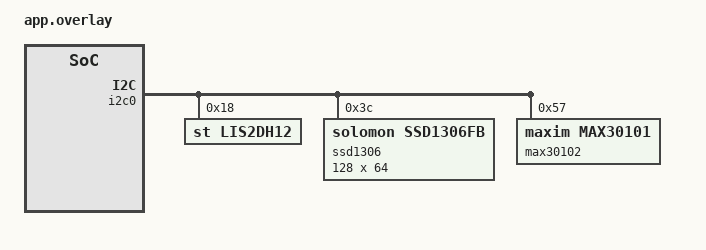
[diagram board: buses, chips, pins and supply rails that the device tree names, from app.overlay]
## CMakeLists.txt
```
#-------------------------------------------------------------------------------
# Zephyr Example Application
#
# Copyright (c) 2021 Nordic Semiconductor ASA
# SPDX-License-Identifier: Apache-2.0

cmake_minimum_required(VERSION 3.13.1)
find_package(Zephyr REQUIRED HINTS $ENV{ZEPHYR_BASE})

project(bibop_eos_s3)

#configure_file(app_version.h.in ${CMAKE_BINARY_DIR}/app/include/app_version.h)
target_include_directories(app PRIVATE ${CMAKE_BINARY_DIR}/app/include src)

# These samples use local static initialization. Since Zephyr doesn't support the
# C++ ABI for thread-safe initialization of local statics and the constructors don't
# appear to require thread safety, we turn it off in the C++ compiler.
set(NO_THREADSAFE_STATICS $<TARGET_PROPERTY:compiler-cpp,no_threadsafe_statics>)
#set(CPP_STANDARD $<TARGET_PROPERTY:compiler-cpp,std=c++17>)
zephyr_compile_options($<$<COMPILE_LANGUAGE:CXX>:${NO_THREADSAFE_STATICS}>)
    #zephyr_compile_options($<$<COMPILE_LANGUAGE:CXX>:${NO_THREADSAFE_STATICS}
    #                                             ${CPP_STANDARD}>)

target_sources(app PRIVATE
                src/main.c
                src/bibop_display.c
                src/bibop_max30102.c
                src/model.cpp
                src/model_functions.cpp
                src/bp_processing.cpp
                #src/eoss3_hal_i2c.c
                #src/eoss3_hal_wb.c
                #src/s3x_clock_hal.c
                )
```

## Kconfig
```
# Copyright (c) 2021 Nordic Semiconductor ASA
# SPDX-License-Identifier: Apache-2.0
#
# This file is the application Kconfig entry point. All application Kconfig
# options can be defined here or included via other application Kconfig files.
# You can browse these options using the west targets menuconfig (terminal) or
# guiconfig (GUI).

menu "Zephyr"

source "Kconfig.zephyr"
endmenu

module = APP
module-str = APP
source "subsys/logging/Kconfig.template.log_config"
```

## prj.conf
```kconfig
# Copyright (c) 2023 Jakub Duchniewicz
# SPDX-License-Identifier: Apache-2.0
#
# This file contains selected Kconfig options for the application.

CONFIG_BUILD_OUTPUT_BIN=y

CONFIG_GPIO=y

CONFIG_LOG=y
CONFIG_PRINTK=y
CONFIG_SERIAL=y
CONFIG_CONSOLE=y
CONFIG_CBPRINTF_FP_SUPPORT=y
CONFIG_STDOUT_CONSOLE=y
CONFIG_UART_CONSOLE=y
CONFIG_UART_LINE_CTRL=y

CONFIG_I2C=y
CONFIG_SENSOR=y
CONFIG_MAX30101=y
#CONFIG_MAX30101_MODE=MAX30101_HEART_RATE_MODE
CONFIG_MAX30101_SPO2_MODE=y
#CONFIG_MAX30101_MULTI_LED_MODE=y
CONFIG_MAX30101_LED1_PA=0x33
CONFIG_MAX30101_LED2_PA=0x33
CONFIG_MAX30101_SMP_AVE=4
CONFIG_MAX30101_SR=7
# 200 Hz


CONFIG_DISPLAY=y
CONFIG_HEAP_MEM_POOL_SIZE=4096
#CONFIG_CFB_LOG_LEVEL_DBG=y
CONFIG_CHARACTER_FRAMEBUFFER=y

CONFIG_CPP=y
CONFIG_NEWLIB_LIBC=y
CONFIG_TENSORFLOW_LITE_MICRO=y
CONFIG_TENSORFLOW_LITE_MICRO_CMSIS_NN_KERNELS=y
```

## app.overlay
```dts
/*
 * Copyright (c) 2023 Jakub Duchniewicz
 *
 * SPDX-License-Identifier: Apache-2.0
 */

 / {
        chosen {
                zephyr,display = &ssd1306;
        };
 };

&i2c0 {
    lis2dh12: lis2dh12@18 {
        compatible = "st,lis2dh12", "st,lis2dh";
        reg = <0x18>;
    };
    ssd1306: ssd1306@3c {
        compatible = "solomon,ssd1306fb";
        reg = <0x3c>;
		width = <128>;
		height = <64>;
		segment-offset = <0>;
		page-offset = <0>;
		display-offset = <0>;
		multiplex-ratio = <63>;
		segment-remap;
		com-invdir;
		prechargep = <0x22>;
    };
    max30102: max30101@57 {
        compatible = "maxim,max30101";
        status = "okay";
        reg = <0x57>;
    };
};
```

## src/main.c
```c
/*
 * Copyright (c) 2023 Jakub Duchniewicz
 * Copyright (c) 2023 Szymon Duchniewicz
 * Copyright (c) 2023 Avanade Inc.
 * SPDX-License-Identifier: Apache-2.0
 */

#include <zephyr/kernel.h>
#include <zephyr/sys/printk.h>
#include <zephyr/drivers/uart.h>
#include <zephyr/drivers/gpio.h>
#include <zephyr/drivers/i2c.h>
#include <zephyr/drivers/sensor.h>
#include <zephyr/device.h>
#include <stdio.h>

#include "lis2dh.h"

#include "bibop_display.h"
#include "bibop_max30102.h"
#include "model_functions.hpp"
#include "bp_processing.hpp"


/* 1000 msec = 1 sec */
#define SLEEP_TIME_MS   1000

#define STACKSIZE 1024
#define PRIORITY 5
#define THREAD_DELAY_START 1000

/* The devicetree node identifier for the "led0" alias. */
#define LED0_NODE DT_ALIAS(led0)
/* The devicetree node indentrifier for the "button0" alias */
#define BUTTON0_NODE DT_ALIAS(sw0)
#define GPIO_NODE DT_NODELABEL(gpio)
#if !DT_NODE_HAS_STATUS(GPIO_NODE, okay)
#error "Unsupported board: gpio devicetree label is not defined"
#endif

static const struct gpio_dt_spec led = GPIO_DT_SPEC_GET(LED0_NODE, gpios);
static const struct gpio_dt_spec button = GPIO_DT_SPEC_GET(BUTTON0_NODE, gpios);
const struct device *const sensor_max = DEVICE_DT_GET_ANY(maxim_max30101);
const struct device *dev_display = DEVICE_DT_GET(DT_CHOSEN(zephyr_display));

static struct bibop_display_conf display_conf;

int init_main();
void sensor_task(void *, void *, void *);
void inference_task(void *, void *, void *);
void display_task(void *, void *, void *);

/* Define threads */
K_THREAD_DEFINE(sensor_task_id, STACKSIZE, sensor_task,
                NULL, NULL, NULL,
                PRIORITY, 0, THREAD_DELAY_START);
K_THREAD_DEFINE(inference_task_id, STACKSIZE, inference_task,
                NULL, NULL, NULL,
                PRIORITY, 0, THREAD_DELAY_START);
K_THREAD_DEFINE(display_task_id, STACKSIZE, display_task,
                NULL, NULL, NULL,
                PRIORITY, 0, THREAD_DELAY_START);

#define SENSOR_TASK_MS 5

/* Define queues for data */
K_FIFO_DEFINE(processing_fifo);
K_FIFO_DEFINE(display_fifo);

#define SENSOR_DATA_FIFO_SIZE 200
#define SAMPLING_RATE_HZ 200
#define PROCESSING_RATE_HZ 125
#define DOWNSAMPLE_FACTOR (SAMPLING_RATE_HZ/PROCESSING_RATE_HZ)

static int8_t processing_fifo_buffer[SENSOR_DATA_FIFO_SIZE];
static int32_t downsampled_sample;
static int16_t processing_fifo_idx;

static Features extracted_features;
static Inferred inferred_data;

int main(void)
{
    if(!init_main())
        return 0;
    if (!bdisplay_init(dev_display, &display_conf)) {
        return 0;
    }
    /*
    bdisplay_loop(dev_display, &display_conf);
    */

    //struct sensor_value red;
    //char print_buf[64];
    /*
     * NOTE: SENSOR_CHAN_IR on our board IS CONNECTED TO THE RED LED
     * and SENSOR_CHAN_RED is connected TO THE IR LED. So data is actually coming from the other place
     */
    while(1) {
        //if (ir.val2 == -128) {
        //    snprintk(print_buf, sizeof(print_buf), "Place your finger on the sensor");
        //}
        //else {
        //    snprintk(print_buf, sizeof(print_buf), "IR value:   %d", ir.val2);
        //}
        //bdisplay_writetext(dev_display, &display_conf, print_buf);
        //k_sleep(K_MSEC(5)); // 5 ms intervals (200Hz)
        k_sleep(K_MSEC(5)); // 5 ms intervals (200Hz)
    }
    return 0;
}

int init_main() {
	int ret;
	if (!gpio_is_ready_dt(&led)) {
		return 0;
	}

    if (!gpio_is_ready_dt(&button)) {
        printk("Button device not ready.\n");
        return 0;
    }

	ret = gpio_pin_configure_dt(&led, GPIO_OUTPUT_INACTIVE);
	if (ret < 0) {
		return 0;
	}
    if (sensor_max == NULL) {
        printk("No Max30101/2 device found\n");
        return 0;
    }
    if (!device_is_ready(sensor_max)) {
        printk("Device %s is not ready\n", sensor_max->name);
        return 0;
    }

    setup_model();
    if (!device_is_ready(dev_display)) {
        printk("Device %s is not ready\n", dev_display->name);
        return 0;
    }
    return 1;
}

// TODO: add buffering of data and proper management of that
// add preprocessing of data and lastly displaying + buffering of outpu (semaphores)
// TODO: check if synchronisation is necessary, use simple queue for now
// adjust scaling of the data and ensure that proper data is printed on the screen
// as of now just display BP on the screen and maybe some other value (HR?)
// solder it and just have a small box powered by USB
// TODO: v3 add waking up with the user button
void sensor_task(void *p1, void *p2, void *p3)
{
    // IR is RED due to bug in the HW
    struct sensor_value ir, red;
    int8_t sample_count = 0;
    while (1) {
        //printk("hello from sensor_task\n");
        bibop_get_mapped_values(sensor_max, &ir, &red);

        ++sample_count;
        downsampled_sample += (int8_t)red.val2;

        // perform an averaging of 2 adjacent samples (should be 1.6 sample in an ideal world,
        // but that would require upsampling and downsampling)
        // instead we simply feed the buffer slightly slower
        // TODO: check if this shouldn't be done using semaphores (else we starve the inference task)
        if (sample_count >= DOWNSAMPLE_FACTOR)
        {
            processing_fifo_buffer[processing_fifo_idx++] = (int8_t)(downsampled_sample / DOWNSAMPLE_FACTOR);

            downsampled_sample = 0;
            sample_count = 0;

            if (processing_fifo_idx == SENSOR_DATA_FIFO_SIZE)
            {
                k_fifo_put(&processing_fifo, &processing_fifo_buffer);
                processing_fifo_idx = 0u;
            }
        }

        k_sleep(K_MSEC(SENSOR_TASK_MS));
    }
}

void inference_task(void *p1, void *p2, void *p3)
{
    while (1) {
        printk("hello from inference_task\n");
        int8_t *processing_buffer = k_fifo_get(&processing_fifo, K_FOREVER);
        // TODO: right now nothing is done with this data - FIX IT
        for (int i = 0; i < 32; ++i)
            printf("%d\n", processing_buffer[i]);

        // TODO: for now preprocess_data expects floats - rescale int32_t to floats?
        extracted_features = preprocess_data(processing_buffer);

        // TODO: for now don't run the model
        // loop_model(extracted_features) and adjust the code
        inferred_data = loop_model(&extracted_features);
        k_fifo_put(&display_fifo, &inferred_data);

        k_sleep(K_MSEC(1000));
    }
}

void display_task(void *p1, void *p2, void *p3)
{
    char buf[32];
    while (1) {
        // TODO: display live data, for now just wait until re-drawing with new
        Inferred *inferred = (Inferred *) k_fifo_get(&display_fifo, K_FOREVER);
        printk("hello from display_task\n");
        sprintf(buf, "SBP: %.1f\nDBP: %.1f\n", inferred->sbp, inferred->dbp);

        //bdisplay_loop(dev_display, &display_conf);
        bdisplay_writetext(dev_display, &display_conf, buf);
        k_sleep(K_MSEC(1000));
    }
}
```

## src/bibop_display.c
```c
#include "bibop_display.h"

int  bdisplay_init(const struct device *dev, struct bibop_display_conf *display_conf) {
    if(display_set_pixel_format(dev, PIXEL_FORMAT_MONO10) != 0) {
        printf("Failed to set required pixel format\n");
        return 0;
    }

    printf("Initialized %s\n", dev->name);

	if (cfb_framebuffer_init(dev)) {
		printf("Framebuffer initialization failed!\n");
		return 0;
	}

	cfb_framebuffer_clear(dev, true);

	display_blanking_off(dev);

	display_conf->rows = cfb_get_display_parameter(dev, CFB_DISPLAY_ROWS);
	display_conf->ppt = cfb_get_display_parameter(dev, CFB_DISPLAY_PPT);

    cfb_framebuffer_set_font(dev, 0);
    printf("font width %d, font height %d\n",
           display_conf->font_width, display_conf->font_height);
    /*
	for (int idx = 0; idx < 42; idx++) {
		if (cfb_get_font_size(dev, idx, &display_conf->font_width, &display_conf->font_height)) {
			break;
		}
		cfb_framebuffer_set_font(dev, idx);
		printf("font width %d, font height %d\n",
		       display_conf->font_width, display_conf->font_height);
	}
    */

	printf("x_res %d, y_res %d, ppt %d, rows %d, cols %d\n",
	       cfb_get_display_parameter(dev, CFB_DISPLAY_WIDTH),
	       cfb_get_display_parameter(dev, CFB_DISPLAY_HEIGH),
	       display_conf->ppt,
	       display_conf->rows,
	       cfb_get_display_parameter(dev, CFB_DISPLAY_COLS));
    return 1;
}

void bdisplay_loop(const struct device *dev, struct bibop_display_conf *display_conf) {
    for (int i = 0; i < display_conf->rows; i++) {
        cfb_framebuffer_clear(dev, false);
        if (cfb_print(dev,
                  "0123456789mMgj!\"§$%&/()=",
                  0, i * display_conf->ppt)) {
            printf("Failed to print a string\n");
            continue;
        }

        cfb_framebuffer_finalize(dev);
        /*
#if defined(CONFIG_ARCH_POSIX)
        k_sleep(K_MSEC(100));
#endif
        */
    }
}

void bdisplay_writetext(const struct device *dev, struct bibop_display_conf *display_conf, const char *text) {
        cfb_framebuffer_clear(dev, false);
        if (cfb_print(dev,
                  text,
                  0, 2 * display_conf->ppt)) {
            printf("Failed to print a string\n");
            return;
        }

        cfb_framebuffer_finalize(dev);
}
```

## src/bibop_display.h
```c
#include <zephyr/display/cfb.h>
#include <zephyr/device.h>
#include <stdio.h>

struct bibop_display_conf {
    uint16_t rows;
    uint8_t ppt;
    uint8_t font_width;
    uint8_t font_height;
};

int bdisplay_init(const struct device *dev, struct bibop_display_conf *display_conf);
void bdisplay_loop(const struct device *dev, struct bibop_display_conf *display_conf);
void bdisplay_writetext(const struct device *dev, struct bibop_display_conf *display_conf, const char *text);
```

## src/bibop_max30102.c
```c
#include "bibop_max30102.h"
#include <zephyr/drivers/i2c.h>
#include <zephyr/kernel.h>
#include <stdio.h>

#define MAX30102_MAX_IR 115000
#define MAX30102_MIN_IR 95000
#define MAX30102_MAX_RED 105000
#define MAX30102_MIN_RED 95000


int8_t bibop_max30102_remap(uint32_t old_min, uint32_t old_max, uint32_t old_val) {
    int8_t new_min = -128;
    int8_t new_max = 127;
    if (old_val > old_max)
        old_val = old_max;
    else if (old_val < old_min)
        old_val = old_min;
    int8_t new_value = (int8_t)((old_val - old_min) * (new_max - new_min) / (old_max - old_min) + new_min);
    return new_value;
}

void bibop_get_mapped_values(const struct device * const sensor_max, struct sensor_value *ir, struct sensor_value *red) {
        sensor_sample_fetch(sensor_max);
        sensor_channel_get(sensor_max, SENSOR_CHAN_IR, red);
        sensor_channel_get(sensor_max, SENSOR_CHAN_RED, ir);

        /* print green LED data */
        ir->val2 = bibop_max30102_remap(MAX30102_MIN_IR, MAX30102_MAX_IR, ir->val1);
        red->val2 = bibop_max30102_remap(MAX30102_MIN_RED, MAX30102_MAX_RED, red->val1);
        //if (new_ir == -128 && new_red == -128) {
        //    /* Super low ir and red values, probably finger not there */
        //    printf("Place yo finger on the sensor!\n");
        //    return;
        //}
        //printf("IR=%d %d\n", ir->val1, ir->val2);
        //printf("RED=%d %d\n", red->val1, red->val2);
}
```

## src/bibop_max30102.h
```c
#include <zephyr/drivers/sensor.h>

void bibop_get_mapped_values(const struct device *const sensor_max, struct sensor_value *ir, struct sensor_value *red);
int8_t bibop_max30102_remap(uint32_t old_min, uint32_t old_max, uint32_t old_val);
```

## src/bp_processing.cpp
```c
#include "bp_processing.hpp"

#include <zephyr/sys/printk.h>
#include <cstddef>
#include <vector>
#include <algorithm>
#include <limits>
#include <cstdint>

/* Steps to proceed:
 * Port the python code here
 * Decide how to mnanage the data transfers and code it (ringbuffers?)
 * Test the model with dummy data from google collab on hardware
 * Feed the mdoel with real data
 * Feed the inferred data from model to the LCD screen
 * (opt)Code the HR algo?
 * (opt)threadize the process
 */

std::vector<int8_t> ppg; // FIXME: dummy vector that should be put somewhere else? a ringbuffer of data for collection
std::vector<int8_t> ppg_i, ppg_ii;
constexpr auto FS = 125;

constexpr float DATA_MEANS[6] = { 0.438804, 0.125859, 0.312945,
                                  0.094671, 0.218274, 1.916834 };
constexpr float DATA_STDDEVS[6] = { 0.143371, 0.042210, 0.115670,
                                    0.021226, 0.106670, 0.406563 };

constexpr float DUMMY_RESULTS[6] = { 0.504, 0.128, 0.376, 0.128, 0.248, 2.5318066157760812 };

struct TimeCycle
{
    float cycle_len;
    float dia_2;
};

// this is the better algorithm
std::vector<int8_t> gradient(const std::vector<int8_t> &input)
{
    if (input.size() <= 1) return input;
    std::vector<int8_t> res;
    res.reserve(FS);

    // Handle first element
    res.push_back(input[1] - input[0]);

    // Handle elements in the middle
    for(size_t j = 1; j < input.size() - 1; j++) {
        size_t j_left = j - 1;
        size_t j_right = j + 1;
        int8_t dist_grad = (input[j_right] - input[j_left]) / 2;
        res.push_back(dist_grad);
    }

    // Handle last element
    res.push_back(input[input.size() - 1] - input[input.size() - 2]);

    return res;
}
//std::vector<float> gradient(const std::vector<float> &input)
//{
//    if (input.size() <= 1) return input;
//    std::vector<float> res;
//    res.reserve(FS);
//    for(size_t j = 0; j < input.size(); j++) {
//        size_t j_left = j - 1;
//        size_t j_right = j + 1;
//        if (j_left < 0) {
//            j_left = 0;
//            j_right = 1;
//        }
//        if (j_right >= input.size()) {
//            j_right = input.size() - 1;
//            j_left = j_right - 1;
//        }
//        // gradient value at position j
//        float dist_grad = (input[j_right] - input[j_left]) / 2.0;
//        res.push_back(dist_grad);
//    }
//    return res;
//}

// FIXME: add height param here, something wrong!
std::vector<int> find_peaks(const std::vector<int8_t> &input, int8_t height = std::numeric_limits<int8_t>::lowest()) // TODO: height parameter?
{
	std::vector<int> peaks;
	for (size_t i = 1; i < input.size() - 1; ++i)
	{
		if (input[i] > input[i - 1] && input[i] > input[i + 1] && input[i] > height)
        {
            printk("pushed back peak idx: %d\n", i); // TODO: debug where the inacurracy is between Python and C++
			peaks.push_back(i);
        }
	}
    printk("Done pushing\n");
	return peaks;
}

TimeCycle time_cycle(const std::vector<int8_t> &input, int sys_1, int sys_2, int dia_1)
{
    float dia_2 = std::distance(input.begin() + sys_1,
                  std::min_element(input.begin() + sys_1, input.begin() + sys_2)) +
                  sys_1; // adjust here
    return { dia_2 - dia_1, dia_2 };
}

int dicr_notch(const std::vector<int8_t> &input_ii, int sys_1)
{
    std::vector<int8_t> input_ii_sys_1 = std::vector<int8_t>(input_ii.begin() + sys_1, input_ii.end());
    std::vector<int> peaks = find_peaks(input_ii_sys_1, 0); // still does not get 2 guys here, have to fix it
    if (!peaks.size())
        return -1;

    return peaks[0] + sys_1;
}


/* TODO: can I return temporary vectors?
 * also, I think I need a ringbuffer for returned data as well */
Features extract_features(const std::vector<int8_t> &ppg, const std::vector<int8_t> &ppg_ii)
{
    float sys_1, sys_2, dia_1, dicr, t_start_sys,
          t_sys_end, t_sys_dicr, t_dicr_end, ratio;
    std::vector<int> peaks = find_peaks(ppg);
    if (!peaks.size())
    {
        printk("No peaks found.");
        return { -1, -1, -1, -1, -1, -1 };
    }

    sys_1 = peaks[0];
    if (peaks.size() < 2)
        sys_2 = -1;
    else
        sys_2 = peaks[1];

    // peaks.end() should be sys_1
    dia_1 = std::distance(ppg.begin(), std::min_element(ppg.begin(), ppg.begin() + sys_1));

    auto [cycle_len, dia_2] = time_cycle(ppg, sys_1, sys_2, dia_1);

    t_start_sys = sys_1 - dia_1;
    t_sys_end = dia_2 - sys_1;

    dicr = dicr_notch(ppg_ii, sys_1);

    if (dicr == -1)
    {
        printk("No dicr notch.");
        return { -1, -1, -1, -1, -1, -1 };
    }

    t_sys_dicr = dicr - sys_1;
    t_dicr_end = dia_2 - dicr;
    ratio = ppg[sys_1] / ppg[dia_1];

    cycle_len /= FS;
    t_start_sys /= FS;
    t_sys_end /= FS;
    t_sys_dicr /= FS;
    t_dicr_end /= FS;

    // TODO: add printks
    return { cycle_len, t_start_sys, t_sys_end,
            t_sys_dicr, t_dicr_end, ratio };
}
/* Reads one period of samples from the global buffer.
 * Then extracts features from the data and puts it in
 * a buffer that is passed to the model for inference. */
Features preprocess_data(int8_t *input)
{
    ppg_i.reserve(FS);
    ppg_ii.reserve(FS);
    // calculate PPG gradients
    std::vector<int8_t> input_v(input, input + FS);
	ppg_i = gradient(input_v);
	ppg_ii = gradient(ppg_i);

    //printk("PPG\n");
    //for (int i = 0; i < 10; i+=5)
    //{
    //    printk("%f %f %f %f %f\n",
    //            DUMMY_PPG[i], DUMMY_PPG[i+1], DUMMY_PPG[i+2], DUMMY_PPG[i+3], DUMMY_PPG[i+4]);
    //}

    //printk("PPG_I\n");
    //for (int i = 0; i < 10; i+=5)
    //{
    //    printk("%f %f %f %f %f\n",
    //            ppg_i[i], ppg_i[i+1], ppg_i[i+2], ppg_i[i+3], ppg_i[i+4]);
    //}

    //printk("PPG_II\n");
    //for (int i = 0; i < 10; i+=5)
    //{
    //    printk("%f %f %f %f %f\n",
    //            ppg_ii[i], ppg_ii[i+1], ppg_ii[i+2], ppg_ii[i+3], ppg_ii[i+4]);
    //}

    // extract features
	Features ftrs = extract_features(input_v, ppg_ii);

	// FIXME: dummy
    printk("Before rescaling\n");
    printk("cycle_len: %f orig: %f\n", ftrs.cycle_len, DUMMY_RESULTS[0]);
    printk("t_start_sys: %f orig: %f\n", ftrs.t_start_sys, DUMMY_RESULTS[1]);
    printk("t_sys_end: %f orig: %f\n", ftrs.t_sys_end, DUMMY_RESULTS[2]);
    printk("t_sys_dicr: %f orig: %f\n", ftrs.t_sys_dicr, DUMMY_RESULTS[3]);
    printk("t_dicr_end: %f orig: %f\n", ftrs.t_dicr_end, DUMMY_RESULTS[4]);
    printk("ratio: %f orig: %f\n", ftrs.ratio, DUMMY_RESULTS[5]);

    // prescale the data with values from the dataset
    ftrs.cycle_len = (ftrs.cycle_len - DATA_MEANS[0]) / DATA_STDDEVS[0];
    ftrs.t_start_sys = (ftrs.t_start_sys - DATA_MEANS[1]) / DATA_STDDEVS[1];
    ftrs.t_sys_end = (ftrs.t_sys_end - DATA_MEANS[2]) / DATA_STDDEVS[2];
    ftrs.t_sys_dicr = (ftrs.t_sys_dicr - DATA_MEANS[3]) / DATA_STDDEVS[3];
    ftrs.t_dicr_end = (ftrs.t_dicr_end - DATA_MEANS[4]) / DATA_STDDEVS[4];
    ftrs.ratio = (ftrs.ratio - DATA_MEANS[5]) / DATA_STDDEVS[5];

    return ftrs;
}
```

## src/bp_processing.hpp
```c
#ifndef BIBOP_ZEPHYR_EOS_S3_APP_BP_PROCESSING_H_
#define BIBOP_ZEPHYR_EOS_S3_APP_BP_PROCESSING_H_

#include "common.hpp"
#include <stdint.h>

/* Expose a C friendly interface for main functions. */
#ifdef __cplusplus
extern "C" {
#endif

Features preprocess_data(int8_t *input);

#ifdef __cplusplus
}
#endif

#endif /* BIBOP_ZEPHYR_EOS_S3_APP_MODEL_FUNCTIONS_H_*/
```

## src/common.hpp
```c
#ifndef BIBOP_ZEPHYR_EOS_S3_APP_COMMON_H_
#define BIBOP_ZEPHYR_EOS_S3_APP_COMMON_H_

typedef struct
{
    float cycle_len;
    float t_start_sys;
    float t_sys_end;
    float t_sys_dicr;
    float t_dicr_end;
    float ratio;
} Features;

typedef struct
{
    float sbp;
    float dbp;
} Inferred;

#endif /* BIBOP_ZEPHYR_EOS_S3_APP_COMMON_H_ */
```

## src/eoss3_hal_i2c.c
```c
/*
 * ==========================================================
 *
 *    Copyright (C) 2020 QuickLogic Corporation             
 *    Licensed under the Apache License, Version 2.0 (the "License");
 *    you may not use this file except in compliance with the License.
 *    You may obtain a copy of the License at
 * 		http://www.apache.org/licenses/LICENSE-2.0
 *    Unless required by applicable law or agreed to in writing, software
 *    distributed under the License is distributed on an "AS IS" BASIS,
 *    WITHOUT WARRANTIES OR CONDITIONS OF ANY KIND, either express or implied.
 *    See the License for the specific language governing permissions and
 *    limitations under the License.
 *
 *    File      : eoss3_hal_i2c.c
 *    Purpose   : 
 *                                                          
 *                                                          
 * ===========================================================
 *
 */

#include <stdio.h>
#include <stdint.h>
#include <string.h>
#include <stddef.h>
#include <eoss3_dev.h>
#include <eoss3_hal_def.h>
//#include <s3x_clock_hal.h>
//#include <eoss3_hal_rcc.h>
#include <eoss3_hal_i2c.h>
#include <eoss3_hal_pad_config.h>
#include "test_types.h"
#include <eoss3_hal_wb.h>
//#include "eoss3_hal_power.h"

#ifdef __RTOS
#include <FreeRTOS.h>
#include <semphr.h>
#endif
#define delayCycles(_x_)	do {							\
					volatile unsigned int _delayCycleCount = _x_;	\
					while (_delayCycleCount--);			\
				} while(0)
#define MAX_CYCLES_FFE 50 // how many cycles to wait after each write to TXRX data register for i2c, for FFE to stop being busy - pick up the data and transmit to the i2c device (otherwise will fail on next transmission function)
#define waitFFEReady(_x_) for (int i = 0; i != _x_; i++) \
                                  if (!((EXT_REGS_FFE->CSR & WB_CSR_BUSY) \
                                              || (EXT_REGS_FFE->CSR & WB_CSR_MASTER_START)))\
                                              break;

/* This variable holds I2C status */
I2C_State eI2CState = I2C_RESET;
UINT8_t   ucI2CSlaveID = WB_ADDR_I2C0_SLAVE_SEL;

HAL_StatusTypeDef HAL_I2C0_Select()
{
  ucI2CSlaveID = WB_ADDR_I2C0_SLAVE_SEL;
  return HAL_OK;
}

HAL_StatusTypeDef HAL_I2C1_Select()
{
  ucI2CSlaveID = WB_ADDR_I2C1_SLAVE_SEL;
  return HAL_OK;
}

HAL_StatusTypeDef HAL_I2C_Init(I2C_Config xI2CConfig)
{
    if(xI2CConfig.ucI2Cn == 0)
    {
    	HAL_WB_Init(WB_ADDR_I2C0_SLAVE_SEL);
	HAL_I2C0_Select();
    }
    if(xI2CConfig.ucI2Cn == 1)
    {
	HAL_WB_Init(WB_ADDR_I2C1_SLAVE_SEL);
	HAL_I2C1_Select();
    }

    HAL_WB_Transmit(I2C_MCR, (UINT8_t)~(1<<I2C_CR_EN_BIT), ucI2CSlaveID);

    /* Set I2C clock frequency */
    HAL_I2C_SetClockFreq(xI2CConfig.eI2CFreq);

    /* Check if Interrupt needs to be enable */
    if(xI2CConfig.eI2CInt)
          HAL_WB_Transmit(I2C_MCR, 1<<I2C_CR_IEN_BIT, ucI2CSlaveID);

    HAL_WB_Transmit(I2C_MCR, 1<<I2C_CR_EN_BIT, ucI2CSlaveID);

	eI2CState = I2C_READY;
	return HAL_OK;
}
/*
* Note:  12-14-2018
* The Datasheet seems to be not updated to the correct RTL implementation.
* The macro HAL_I2C_CLK_PRESCALE is incorrect due to this.
*      I2C_FREQ ? (SYS_FREQ/(I2C_FREQ*5))-1
*
* The computation should be according to the following formula.
* For pre-scale  = 0:
*
*  Default I2C frequency  (with control register bit [4] = bit[5] = 0)  =  Sys Freq. / 12
* 
* For pre-scale  > 0:
*
*  I2C SCL Freq  = Sys Freq / (5 * (pre-scale +1) + X ,       
*        1. Where X  is added because of the clock stretching support, filtering of the feedback path 
*           to know whether clock is being stretched or not. 
*        2. X varies according to the pre-scale value.
*           For pre-scale (1-3 ), X = 5
*           For pre-scale (4-7 ), X = 7
*           For pre-scale (8-11 ), X = 9 
*           For pre-scale (12-15 ), X =11 . So On
*
* So, the values are precomputed for a lookup in a Table
*/
#define CHECK_DIV_ARRAY_SIZE  16
//static int divArray[CHECK_DIV_ARRAY_SIZE]      = {12,15,20,25,32,37,42,47,54,59,64,69,76,81,86,91};
static int checkDivArray[CHECK_DIV_ARRAY_SIZE] = {13,17,22,29,34,39,44,50,56,61,66,72,78,83,88,91};
//int checkDivArraySize = 16;
static int CalculatePreScale(float divFactor)
{
    int i;
    for (i = 0; i < CHECK_DIV_ARRAY_SIZE; i++)
    {
        if (divFactor <= checkDivArray[i])
        {
            return i;
        }
    }
    return CHECK_DIV_ARRAY_SIZE-1;
}

HAL_StatusTypeDef HAL_I2C_SetClockFreq(UINT32_t uiClkFreq)
{
    UINT32_t uiClock, uiPrescale;
    UINT8_t val;
   //Set the frequency
    //uiClock = S3x_Clk_Get_Rate(S3X_FFE_X1_CLK); // TODO: FIX - add CLOCK rate getting function
    /* Get Source Clock (CL08_X4) Rate, which is equal to High Speed OSC (HSOSC) clock Rate 
     * and divide it accordingly. NOTE: This below assumes HSOSC rate is not modified (and by
     * default it is not) 
     * #define OSC_GET_FREQ_INC()	(((AIP->OSC_CTRL_1 & 0xFFF) + 3) * 32768)
    */
    uiClock = (((AIP->OSC_CTRL_1 & 0xFFF) + 3) * 32768)/4/6; // TODO: Find a programatic way to get the dividor (6) from CLK_CTRL_C_0, supposedly done here: https://github.com/QuickLogic-Corp/qorc-sdk/blob/d61d064146c0ee927aa12b088b3bbbce60615f4d/Libraries/Power/src/s3x_clock.c#L685

    // Program prescale value
#if 1 //use new formula to compute    
    uiPrescale = CalculatePreScale(uiClock*1.0/(uiClkFreq*100*1000));
#else  //this is incorrect according to RTL   
    uiPrescale = HAL_I2C_CLK_PRESCALE(uiClock, (uiClkFreq*100*1000));
#endif    
//    HAL_I2C_WRITE_PRESCALE(uiPrescale);
    HAL_WB_Transmit(I2C_PRELO, uiPrescale&0xFF, ucI2CSlaveID);
    HAL_WB_Transmit(I2C_PREHI, (uiPrescale>>8)&0xFF, ucI2CSlaveID);

    HAL_WB_Receive(I2C_PRELO, &val, ucI2CSlaveID);

    return HAL_OK;
}


HAL_StatusTypeDef HAL_I2C_Write(UINT8_t ucDevAddress, UINT8_t ucAddress, UINT8_t *pucDataBuf, UINT32_t uiLength)
{
  UINT8_t *pucData = pucDataBuf;
  UINT32_t uiLen = uiLength-1;
  UINT8_t ucI2CStatus = 0;

  if(eI2CState != I2C_READY)
    return HAL_BUSY;

  if(!ucDevAddress || pucDataBuf == NULL)
    return HAL_ERROR;

  if(!uiLength)
    return HAL_OK;

  eI2CState = I2C_BUSY;

  /* Request for write */
  if(HAL_WB_Transmit(I2C_TXRX_DR, ((ucDevAddress<<1) & (~1)), ucI2CSlaveID) != HAL_OK)
  {
    	eI2CState = I2C_READY;
	return HAL_ERROR;
  }
  waitFFEReady(MAX_CYCLES_FFE);

  /* Generate command with start condition and write cycle */
  if(HAL_WB_Transmit(I2C_CMD_SR, CMD_START_BIT | CMD_WRITE_SLAVE_BIT, ucI2CSlaveID) != HAL_OK)
  {
    	eI2CState = I2C_READY;
	return HAL_ERROR;
  }

  /* Check if Transfer completed */
  do
  {
     HAL_WB_Receive(I2C_CMD_SR, &ucI2CStatus, ucI2CSlaveID);
  }while(ucI2CStatus & (1<<SR_TIP_BIT));

  /* Read acknowledge from slave */
  if((ucI2CStatus & (1<<SR_RXACK_BIT)))
  {
      	eI2CState = I2C_READY;
    	return HAL_ERROR;
  }
  /* Write address */
  if(HAL_WB_Transmit(I2C_TXRX_DR, ucAddress, ucI2CSlaveID) != HAL_OK)
  {
    	eI2CState = I2C_READY;
	return HAL_ERROR;
  }
  waitFFEReady(MAX_CYCLES_FFE);

  /* Generate command with stop condition and write cycle */
  if(HAL_WB_Transmit(I2C_CMD_SR, CMD_WRITE_SLAVE_BIT, ucI2CSlaveID) != HAL_OK)
  {
    	eI2CState = I2C_READY;
	return HAL_ERROR;
  }

  while(uiLen--)
  {
    /* Check if Transfer completed */
    do
    {
      HAL_WB_Receive(I2C_CMD_SR, &ucI2CStatus, ucI2CSlaveID);
    }while(ucI2CStatus & (1<<SR_TIP_BIT));

    /* Read acknowledge from slave */
    if((ucI2CStatus & (1<<SR_RXACK_BIT)))
    {
      	eI2CState = I2C_READY;
      	return HAL_ERROR;
    }

    /* Write data */
    if(HAL_WB_Transmit(I2C_TXRX_DR, *pucData++, ucI2CSlaveID) != HAL_OK)
    {
      	eI2CState = I2C_READY;
	return HAL_ERROR;
    }
    waitFFEReady(MAX_CYCLES_FFE);

    /* Generate command with write cycle */
    if(HAL_WB_Transmit(I2C_CMD_SR, CMD_WRITE_SLAVE_BIT, ucI2CSlaveID) != HAL_OK)
    {
      	eI2CState = I2C_READY;
	return HAL_ERROR;
    }
  }

  /* Check if Transfer completed */
  do
  {
     HAL_WB_Receive(I2C_CMD_SR, &ucI2CStatus, ucI2CSlaveID);
  }while(ucI2CStatus & (1<<SR_TIP_BIT));

  /* Write data */
  if(HAL_WB_Transmit(I2C_TXRX_DR, *pucData++, ucI2CSlaveID) != HAL_OK)
  {
    	eI2CState = I2C_READY;
	return HAL_ERROR;
  }
  waitFFEReady(MAX_CYCLES_FFE);

  /* Generate command with stop condition and write cycle */
  if(HAL_WB_Transmit(I2C_CMD_SR, CMD_STOP_BIT | CMD_WRITE_SLAVE_BIT, ucI2CSlaveID) != HAL_OK)
  {
    	eI2CState = I2C_READY;
	return HAL_ERROR;
  }

  /* Check if Transfer completed */
  do
  {
     HAL_WB_Receive(I2C_CMD_SR, &ucI2CStatus, ucI2CSlaveID);
  }while(ucI2CStatus & (1<<SR_TIP_BIT));

  eI2CState = I2C_READY;

  return HAL_OK;
}

HAL_StatusTypeDef HAL_I2C_Read(UINT8_t ucDevAddress, UINT8_t ucAddress, UINT8_t *pucDataBuf, UINT32_t uiLength)
{
  UINT8_t *pucData = pucDataBuf;
  UINT32_t uiLen = uiLength-1;
  UINT8_t ucI2CStatus = 0;

  if(eI2CState != I2C_READY)
    return HAL_BUSY;

  if(!ucDevAddress || pucDataBuf == NULL)
    return HAL_ERROR;

  if(!uiLength)
    return HAL_OK;

  eI2CState = I2C_BUSY;

  /* Request for write */
  if(HAL_WB_Transmit(I2C_TXRX_DR, ((ucDevAddress<<1) & (~1)), ucI2CSlaveID) != HAL_OK)
  {
    	eI2CState = I2C_READY;
	return HAL_ERROR;
  }
  waitFFEReady(MAX_CYCLES_FFE);

  /* Generate command with start condition and write cycle */
  if(HAL_WB_Transmit(I2C_CMD_SR, CMD_START_BIT | CMD_WRITE_SLAVE_BIT, ucI2CSlaveID) != HAL_OK)
  {
    	eI2CState = I2C_READY;
	return HAL_ERROR;
  }

  /* Check if Transfer completed */
  do
  {
     HAL_WB_Receive(I2C_CMD_SR, &ucI2CStatus, ucI2CSlaveID);
  }while(ucI2CStatus & (1<<SR_TIP_BIT));

  /* Read acknowledge from slave */
  if((ucI2CStatus & (1<<SR_RXACK_BIT)))
  {
        eI2CState = I2C_READY;
    	return HAL_ERROR;
  }

  /* Write address */
  if(HAL_WB_Transmit(I2C_TXRX_DR, ucAddress, ucI2CSlaveID) != HAL_OK)
  {
    	eI2CState = I2C_READY;
	return HAL_ERROR;
  }
  waitFFEReady(MAX_CYCLES_FFE);

  /* Generate command with stop condition and write cycle */
  if(HAL_WB_Transmit(I2C_CMD_SR, CMD_STOP_BIT | CMD_WRITE_SLAVE_BIT, ucI2CSlaveID) != HAL_OK)
  {
    	eI2CState = I2C_READY;
	return HAL_ERROR;
  }

  /* Check if Transfer completed */
  do
  {
     HAL_WB_Receive(I2C_CMD_SR, &ucI2CStatus, ucI2CSlaveID);
  }while(ucI2CStatus & (1<<SR_TIP_BIT));

  /* Request for Read */
  if(HAL_WB_Transmit(I2C_TXRX_DR, ((ucDevAddress<<1) | 1), ucI2CSlaveID) != HAL_OK)
  {
    	eI2CState = I2C_READY;
	return HAL_ERROR;
  }
  waitFFEReady(MAX_CYCLES_FFE);

  /* Generate command with start condition and write cycle */
  if(HAL_WB_Transmit(I2C_CMD_SR, CMD_START_BIT | CMD_WRITE_SLAVE_BIT, ucI2CSlaveID) != HAL_OK)
  {
    	eI2CState = I2C_READY;
	return HAL_ERROR;
  }

  /* Check if Transfer completed */
  do
  {
     HAL_WB_Receive(I2C_CMD_SR, &ucI2CStatus, ucI2CSlaveID);
  }while(ucI2CStatus & (1<<SR_TIP_BIT));

  /* Read acknowledge from slave */
  if((ucI2CStatus & (1<<SR_RXACK_BIT)))
  {
      	eI2CState = I2C_READY;
    	return HAL_ERROR;
  }

  while(uiLen--)
  {
    /* Generate command with ACK and READ cycle */
    if(HAL_WB_Transmit(I2C_CMD_SR, CMD_READ_SLAVE_BIT, ucI2CSlaveID) != HAL_OK)
    {
      	eI2CState = I2C_READY;
    	return HAL_ERROR;
    }

    /* Check if Transfer completed */

    do
    {
       HAL_WB_Receive(I2C_CMD_SR, &ucI2CStatus, ucI2CSlaveID);
    }while(ucI2CStatus & (1<<SR_TIP_BIT));

    /* Read acknowledge from slave */
    if((ucI2CStatus & (1<<SR_RXACK_BIT)))
    {
        eI2CState = I2C_READY;
    	return HAL_ERROR;
    }

  /* Read data */
    HAL_WB_Receive(I2C_TXRX_DR, pucData++, ucI2CSlaveID);
  }

  /* Generate command with ACK and READ cycle */
  if(HAL_WB_Transmit(I2C_CMD_SR, CMD_STOP_BIT | CMD_NACK_BIT | CMD_READ_SLAVE_BIT, ucI2CSlaveID) != HAL_OK)
  {
    	eI2CState = I2C_READY;
    	return HAL_ERROR;
  }

  /* Check if Transfer completed */
  do
  {
     HAL_WB_Receive(I2C_CMD_SR, &ucI2CStatus, ucI2CSlaveID);
  }while(ucI2CStatus & (1<<SR_TIP_BIT));

  /* Read data */
  HAL_WB_Receive(I2C_TXRX_DR, pucData, ucI2CSlaveID);

  eI2CState = I2C_READY;

  return HAL_OK;
}


HAL_StatusTypeDef HAL_I2C_Read16(UINT8_t ucDevAddress, UINT16_t ucAddress, UINT8_t *pucDataBuf, UINT32_t uiLength)
{
  UINT8_t *pucData = pucDataBuf;
  UINT32_t uiLen = uiLength-1;
  UINT8_t ucI2CStatus = 0;

  if(eI2CState != I2C_READY)
    return HAL_BUSY;

  if(!ucDevAddress || pucDataBuf == NULL)
    return HAL_ERROR;

  if(!uiLength)
    return HAL_OK;

  eI2CState = I2C_BUSY;

  /* Request for write */
  if(HAL_WB_Transmit(I2C_TXRX_DR, ((ucDevAddress<<1) & (~1)), ucI2CSlaveID) != HAL_OK)
  {
    	eI2CState = I2C_READY;
	return HAL_ERROR;
  }
  waitFFEReady(MAX_CYCLES_FFE);

  /* Generate command with start condition and write cycle */
  if(HAL_WB_Transmit(I2C_CMD_SR, CMD_START_BIT | CMD_WRITE_SLAVE_BIT, ucI2CSlaveID) != HAL_OK)
  {
    	eI2CState = I2C_READY;
	return HAL_ERROR;
  }

  /* Check if Transfer completed */
  do
  {
     HAL_WB_Receive(I2C_CMD_SR, &ucI2CStatus, ucI2CSlaveID);
  }while(ucI2CStatus & (1<<SR_TIP_BIT));

  /* Read acknowledge from slave */
  if((ucI2CStatus & (1<<SR_RXACK_BIT)))
  {
        eI2CState = I2C_READY;
    	return HAL_ERROR;
  }

  /* Write address */
  if(HAL_WB_Transmit(I2C_TXRX_DR, (ucAddress>>8)&0xff, ucI2CSlaveID) != HAL_OK)
  {
    	eI2CState = I2C_READY;
	return HAL_ERROR;
  }
  waitFFEReady(MAX_CYCLES_FFE);

    /* Generate command with write cycle */
    if(HAL_WB_Transmit(I2C_CMD_SR, CMD_WRITE_SLAVE_BIT, ucI2CSlaveID) != HAL_OK)
    {
      	eI2CState = I2C_READY;
	return HAL_ERROR;
    }

  /* Check if Transfer completed */
  do
  {
     HAL_WB_Receive(I2C_CMD_SR, &ucI2CStatus, ucI2CSlaveID);
  }while(ucI2CStatus & (1<<SR_TIP_BIT));

  if(HAL_WB_Transmit(I2C_TXRX_DR, ucAddress&0xff, ucI2CSlaveID) != HAL_OK)
  {
    	eI2CState = I2C_READY;
	return HAL_ERROR;
  }
  waitFFEReady(MAX_CYCLES_FFE);
  
  /* Generate command with stop condition and write cycle */
  if(HAL_WB_Transmit(I2C_CMD_SR, CMD_STOP_BIT | CMD_WRITE_SLAVE_BIT, ucI2CSlaveID) != HAL_OK)
  {
    	eI2CState = I2C_READY;
	return HAL_ERROR;
  }

  /* Check if Transfer completed */
  do
  {
     HAL_WB_Receive(I2C_CMD_SR, &ucI2CStatus, ucI2CSlaveID);
  }while(ucI2CStatus & (1<<SR_TIP_BIT));

  /* Request for Read */
  if(HAL_WB_Transmit(I2C_TXRX_DR, ((ucDevAddress<<1) | 1), ucI2CSlaveID) != HAL_OK)
  {
    	eI2CState = I2C_READY;
	return HAL_ERROR;
  }
  waitFFEReady(MAX_CYCLES_FFE);

  /* Generate command with start condition and write cycle */
  if(HAL_WB_Transmit(I2C_CMD_SR, CMD_START_BIT | CMD_WRITE_SLAVE_BIT, ucI2CSlaveID) != HAL_OK)
  {
    	eI2CState = I2C_READY;
	return HAL_ERROR;
  }

  /* Check if Transfer completed */
  do
  {
     HAL_WB_Receive(I2C_CMD_SR, &ucI2CStatus, ucI2CSlaveID);
  }while(ucI2CStatus & (1<<SR_TIP_BIT));

  /* Read acknowledge from slave */
  if((ucI2CStatus & (1<<SR_RXACK_BIT)))
  {
      	eI2CState = I2C_READY;
    	return HAL_ERROR;
  }

  while(uiLen--)
  {
    /* Generate command with ACK and READ cycle */
    if(HAL_WB_Transmit(I2C_CMD_SR, CMD_READ_SLAVE_BIT, ucI2CSlaveID) != HAL_OK)
    {
      	eI2CState = I2C_READY;
    	return HAL_ERROR;
    }

    /* Check if Transfer completed */

    do
    {
       HAL_WB_Receive(I2C_CMD_SR, &ucI2CStatus, ucI2CSlaveID);
    }while(ucI2CStatus & (1<<SR_TIP_BIT));

    /* Read acknowledge from slave */
    if((ucI2CStatus & (1<<SR_RXACK_BIT)))
    {
        eI2CState = I2C_READY;
    	return HAL_ERROR;
    }

  /* Read data */
    HAL_WB_Receive(I2C_TXRX_DR, pucData++, ucI2CSlaveID);
  }

  /* Generate command with ACK and READ cycle */
  if(HAL_WB_Transmit(I2C_CMD_SR, CMD_STOP_BIT | CMD_NACK_BIT | CMD_READ_SLAVE_BIT, ucI2CSlaveID) != HAL_OK)
  {
    	eI2CState = I2C_READY;
    	return HAL_ERROR;
  }

  /* Check if Transfer completed */
  do
  {
     HAL_WB_Receive(I2C_CMD_SR, &ucI2CStatus, ucI2CSlaveID);
  }while(ucI2CStatus & (1<<SR_TIP_BIT));

  /* Read data */
  HAL_WB_Receive(I2C_TXRX_DR, pucData, ucI2CSlaveID);

  eI2CState = I2C_READY;

  return HAL_OK;
}

HAL_StatusTypeDef HAL_I2C_Write16(UINT8_t ucDevAddress, UINT16_t ucAddress, UINT8_t *pucDataBuf, UINT32_t uiLength)
{
  UINT8_t *pucData = pucDataBuf;
  UINT32_t uiLen = uiLength-1;
  UINT8_t ucI2CStatus = 0;

  if(eI2CState != I2C_READY)
    return HAL_BUSY;

  if(!ucDevAddress || pucDataBuf == NULL)
    return HAL_ERROR;

  if(!uiLength)
    return HAL_OK;

  eI2CState = I2C_BUSY;
  //HAL_SetPowerDomainState(FFE,WAKEUP);
  delayCycles(50);

  /* Request for write */
  if(HAL_WB_Transmit(I2C_TXRX_DR, ((ucDevAddress<<1) & (~1)), ucI2CSlaveID) != HAL_OK)
  {
    	eI2CState = I2C_READY;
	return HAL_ERROR;
  }
  waitFFEReady(MAX_CYCLES_FFE);

  /* Generate command with start condition and write cycle */
  if(HAL_WB_Transmit(I2C_CMD_SR, CMD_START_BIT | CMD_WRITE_SLAVE_BIT, ucI2CSlaveID) != HAL_OK)
  {
    	eI2CState = I2C_READY;
	return HAL_ERROR;
  }

  /* Check if Transfer completed */
  do
  {
     HAL_WB_Receive(I2C_CMD_SR, &ucI2CStatus, ucI2CSlaveID);
  }while(ucI2CStatus & (1<<SR_TIP_BIT));

  /* Read acknowledge from slave */
  if((ucI2CStatus & (1<<SR_RXACK_BIT)))
  {
      	eI2CState = I2C_READY;
    	return HAL_ERROR;
  }
  
  /* Write address */
  if(HAL_WB_Transmit(I2C_TXRX_DR, (ucAddress>>8)&0xff, ucI2CSlaveID) != HAL_OK)
  {
    	eI2CState = I2C_READY;
	return HAL_ERROR;
  }
  waitFFEReady(MAX_CYCLES_FFE);

    /* Generate command with write cycle */
    if(HAL_WB_Transmit(I2C_CMD_SR, CMD_WRITE_SLAVE_BIT, ucI2CSlaveID) != HAL_OK)
    {
      	eI2CState = I2C_READY;
	return HAL_ERROR;
    }

  /* Check if Transfer completed */
  do
  {
     HAL_WB_Receive(I2C_CMD_SR, &ucI2CStatus, ucI2CSlaveID);
  }while(ucI2CStatus & (1<<SR_TIP_BIT));

  /* Write address */
  if(HAL_WB_Transmit(I2C_TXRX_DR, ucAddress&0xff, ucI2CSlaveID) != HAL_OK)
  {
    	eI2CState = I2C_READY;
	return HAL_ERROR;
  }
  waitFFEReady(MAX_CYCLES_FFE);

  /* Generate command with stop condition and write cycle */
  if(HAL_WB_Transmit(I2C_CMD_SR, CMD_WRITE_SLAVE_BIT, ucI2CSlaveID) != HAL_OK)
  {
    	eI2CState = I2C_READY;
	return HAL_ERROR;
  }

  while(uiLen--)
  {
    /* Check if Transfer completed */
    do
    {
      HAL_WB_Receive(I2C_CMD_SR, &ucI2CStatus, ucI2CSlaveID);
    }while(ucI2CStatus & (1<<SR_TIP_BIT));

    /* Read acknowledge from slave */
    if((ucI2CStatus & (1<<SR_RXACK_BIT)))
    {
      	eI2CState = I2C_READY;
      	return HAL_ERROR;
    }

    /* Write data */
    if(HAL_WB_Transmit(I2C_TXRX_DR, *pucData++, ucI2CSlaveID) != HAL_OK)
    {
      	eI2CState = I2C_READY;
	return HAL_ERROR;
    }
    waitFFEReady(MAX_CYCLES_FFE);

    /* Generate command with write cycle */
    if(HAL_WB_Transmit(I2C_CMD_SR, CMD_WRITE_SLAVE_BIT, ucI2CSlaveID) != HAL_OK)
    {
      	eI2CState = I2C_READY;
	return HAL_ERROR;
    }
  }

  /* Check if Transfer completed */
  do
  {
     HAL_WB_Receive(I2C_CMD_SR, &ucI2CStatus, ucI2CSlaveID);
  }while(ucI2CStatus & (1<<SR_TIP_BIT));

  /* Write data */
  if(HAL_WB_Transmit(I2C_TXRX_DR, *pucData++, ucI2CSlaveID) != HAL_OK)
  {
    	eI2CState = I2C_READY;
	return HAL_ERROR;
  }
  waitFFEReady(MAX_CYCLES_FFE);

  /* Generate command with stop condition and write cycle */
  if(HAL_WB_Transmit(I2C_CMD_SR, CMD_STOP_BIT | CMD_WRITE_SLAVE_BIT, ucI2CSlaveID) != HAL_OK)
  {
    	eI2CState = I2C_READY;
	return HAL_ERROR;
  }

  /* Check if Transfer completed */
  do
  {
     HAL_WB_Receive(I2C_CMD_SR, &ucI2CStatus, ucI2CSlaveID);
  }while(ucI2CStatus & (1<<SR_TIP_BIT));

  eI2CState = I2C_READY;

  return HAL_OK;
}
```

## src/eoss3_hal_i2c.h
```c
/*
 * ==========================================================
 *
 *    Copyright (C) 2020 QuickLogic Corporation             
 *    Licensed under the Apache License, Version 2.0 (the "License");
 *    you may not use this file except in compliance with the License.
 *    You may obtain a copy of the License at
 * 		http://www.apache.org/licenses/LICENSE-2.0
 *    Unless required by applicable law or agreed to in writing, software
 *    distributed under the License is distributed on an "AS IS" BASIS,
 *    WITHOUT WARRANTIES OR CONDITIONS OF ANY KIND, either express or implied.
 *    See the License for the specific language governing permissions and
 *    limitations under the License.
 *
 *    File      : eoss3_hal_i2c.h
 *    Purpose 	: This file contains API declaration for I2C read/write
 *                                                          
 * ===========================================================
 *
 */
#ifndef __EOSS3_HAL_I2C_H_
#define __EOSS3_HAL_I2C_H_
#include <stdint.h>
#include <stddef.h>
#include "test_types.h"
#include <eoss3_dev.h>
#include <eoss3_hal_def.h>

   
/* I2C internal states */
typedef enum
{
  I2C_RESET=0,
  I2C_READY,
  I2C_BUSY,
  I2C_TIMEOUT
}I2C_State;

/* I2C clock frequency */
typedef enum
{
  I2C_100KHZ = 1,
  I2C_200KHZ,
  I2C_300Khz,
  I2C_400KHZ,
  I2C_INVALID
}I2C_FREQ;
   
/* interrupt mode */
typedef enum
{
  I2C_DISABLE = 0,
  I2C_ENABLE
} I2C_IntMode;

#define  I2C_PRELO                                  0
#define  I2C_PREHI                                  1
#define  I2C_MCR                                    2
#define  I2C_TXRX_DR                                3
#define  I2C_CMD_SR                                 4
  
  
/* Clock prescale macros */
//Note: 12-14-2018. This is incorrect. Use the Table lookup computation 
//#define HAL_I2C_CLK_PRESCALE(SYS_FREQ, I2C_FREQ)    (I2C_FREQ?(SYS_FREQ/(I2C_FREQ*5))-1:0)
#define HAL_I2C_WRITE_PRESCALE(PRESCALE)            (I2C->I2C_PRELO = PRESCALE&0xFF); (I2C->I2C_PREHI = (PRESCALE >> 8)&0xFF)

/* Control register macros */

#define I2C_CR_EN_BIT                               7
#define I2C_CR_IEN_BIT                              6

#define HAL_I2C_ENABLE()                            (I2C->I2C_MCR |= 1<<I2C_CR_EN_BIT)
#define HAL_I2C_DISABLE()                           (I2C->I2C_MCR &= ~(1<<I2C_CR_EN_BIT))

#define HAL_I2C_INT_ENABLE()                        (I2C->I2C_MCR |= 1<<I2C_CR_IEN_BIT)
#define HAL_I2C_INT_DISABLE()                       (I2C->I2C_MCR &= ~(1<<I2C_CR_IEN_BIT))

/* Data register macros */
#define HAL_I2C_WRITE_REQ(DEV_ADR)                  (I2C->I2C_TXRX_DR = (UINT8_t)((DEV_ADR<<1) & (~1)))
#define HAL_I2C_READ_REQ(DEV_ADR)                   (I2C->I2C_TXRX_DR = (UINT8_t)((DEV_ADR<<1) | 1))  

/* Command register macros */

#define CMD_START_BIT                               0x80
#define CMD_STOP_BIT                                0x40
#define CMD_READ_SLAVE_BIT                          0x20
#define CMD_WRITE_SLAVE_BIT                         0x10
#define CMD_NACK_BIT                                 0x08
#define CMD_IACK_BIT                                0x01
  
#define HAL_I2C_SET_CMD(CMD_VAL)                    (I2C->I2C_CMD_SR = (UINT8_t)CMD_VAL)

/* Status register macros */

#define SR_RXACK_BIT                                7
#define SR_BUSY_BIT                                 6
#define SR_AL_BIT                                   5
#define SR_TIP_BIT                                  1
#define SR_IF_BIT                                   0
  
#define HAL_I2C_IS_RXACK_SET()                      (I2C->I2C_CMD_SR & (1<<SR_RXACK_BIT))
#define HAL_I2C_IS_BUSY_SET()                       (I2C->I2C_CMD_SR & (1<<SR_BUSY_BIT))
#define HAL_I2C_IS_AL_SET()                         (I2C->I2C_CMD_SR & (1<<SR_AL_BIT))
#define HAL_I2C_IS_TIP_SET()                        (I2C->I2C_CMD_SR & (1<<SR_TIP_BIT))
#define HAL_I2C_IS_IF_SET()                         (I2C->I2C_CMD_SR & (1<<SR_IF_BIT))


/*! \struct FIFO_IntConfig eoss3_hal_i2c.h "inc/eoss3_hal_i2c.h"
 * 	\brief I2C clock and interrupt configuration structure.
 */
typedef struct
{
	I2C_FREQ     eI2CFreq;                       /*!< I2C Frequency */
	I2C_IntMode  eI2CInt;                        /*!< Interrupt enable */
	UINT8_t	     ucI2Cn;
}I2C_Config;

/*! \fn HAL_StatusTypeDef HAL_I2C0_Select(void)
 *  \brief Select I2C0 device to use for all I2C init/read/write operation.
 *
 *  \return HAL_StatusTypeDef      status of device.
 */
HAL_StatusTypeDef HAL_I2C0_Select(void);

/*! \fn HAL_StatusTypeDef HAL_I2C1_Select(void)
 *  \brief Select I2C1 device to use for all I2C init/read/write operation.
 *
 *  \return HAL_StatusTypeDef      status of device.
 */
HAL_StatusTypeDef HAL_I2C1_Select(void);

/*! \fn HAL_StatusTypeDef HAL_I2C_Init(I2C_Config xI2CConfig)
 *  \brief Select I2C1 device to use for all I2C init/read/write operation.
 *
 *  \param xI2CConfig           I2C configuration structure
 *  \return HAL_StatusTypeDef   status of device Init operation.
 */
HAL_StatusTypeDef HAL_I2C_Init(I2C_Config xI2CConfig);

/*! \fn HAL_StatusTypeDef HAL_I2C_SetClockFreq(UINT32_t uiClkFreq)
 *  \brief Set clock frequency for I2C device. It may not be exact frequency when set.
 *
 *  \param uiClkFreq            I2C clock frequency to set.
 *  \return HAL_StatusTypeDef   status of frequency set operation.
 */
HAL_StatusTypeDef HAL_I2C_SetClockFreq(UINT32_t uiClkFreq);

/*! \fn HAL_StatusTypeDef HAL_I2C_Write(UINT8_t ucDevAddress, UINT8_t ucAddress, UINT8_t *pucDataBuf, UINT32_t uiLength)
 *  \brief Write data to I2C device.
 *
 *  \param ucDevAddress         I2C device address.
 *  \param ucAddress            offset address in device to write.
 *  \param pucDataBuf           pointer to data array to write.
 *  \param uiLength             Length of data to write (in bytes)
 *  \return HAL_StatusTypeDef   status of I2C write operation.
 */
HAL_StatusTypeDef HAL_I2C_Write(UINT8_t ucDevAddress, UINT8_t ucAddress, UINT8_t *pucDataBuf, UINT32_t uiLength);

/*! \fn HAL_StatusTypeDef HAL_I2C_Read(UINT8_t ucDevAddress, UINT8_t ucAddress, UINT8_t *pucDataBuf, UINT32_t uiLength)
 *  \brief Read data from I2C device.
 *
 *  \param ucDevAddress         I2C device address.
 *  \param ucAddress            offset address in device to read.
 *  \param pucDataBuf           pointer to data array to read.
 *  \param uiLength             Length of data to read (in bytes)
 *  \return HAL_StatusTypeDef   status of I2C read operation.
 */
HAL_StatusTypeDef HAL_I2C_Read(UINT8_t ucDevAddress, UINT8_t ucAddress, UINT8_t *pucDataBuf, UINT32_t uiLength);

HAL_StatusTypeDef HAL_I2C_Read16(UINT8_t ucDevAddress, UINT16_t ucAddress, UINT8_t *pucDataBuf, UINT32_t uiLength);
HAL_StatusTypeDef HAL_I2C_Write16(UINT8_t ucDevAddress, UINT16_t ucAddress, UINT8_t *pucDataBuf, UINT32_t uiLength);
#endif /* !__EOSS3_HAL_I2C_H_ */
```
